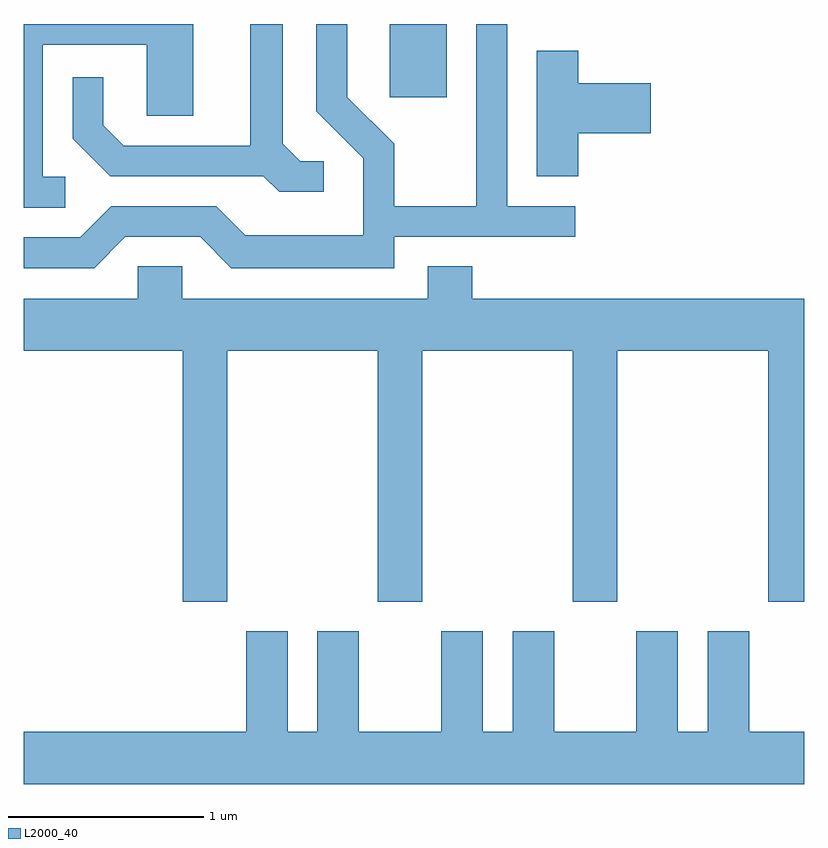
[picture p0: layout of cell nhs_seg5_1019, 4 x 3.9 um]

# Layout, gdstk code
import gdstk
lib = gdstk.Library(unit=1e-6, precision=1e-09)
def R(c, l, rs):  # rectangles x0, y0, x1, y1
    for r in rs: c.add(gdstk.rectangle(r[:2], r[2:], *l))
def P(c, l, *ps):  # polygons
    for p in ps: c.add(gdstk.Polygon(p, *l))
L2000_40 = (2000, 40)

nhs_seg5_1019 = lib.new_cell('nhs_seg5_1019')
R(nhs_seg5_1019, L2000_40, [(217.486,1413.696,217.779,1414.072)])
P(nhs_seg5_1019, L2000_40, [(217.148,1413.369),(217.027,1413.369),(216.939,1413.457),(216.939,1414.072),(216.771,1414.072),(216.771,1413.449),(216.122,1413.449),(216.019,1413.552),(216.019,1413.798),(215.861,1413.798),(215.861,1413.484),(216.054,1413.291),(216.839,1413.291),(216.919,1413.211),(217.148,1413.211)],
  [(215.823,1413.289),(215.709,1413.289),(215.709,1413.966),(216.241,1413.966),(216.241,1413.601),(216.479,1413.601),(216.479,1414.072),(215.611,1414.072),(215.611,1413.131),(215.823,1413.131)],
  [(216.132,1412.981),(216.514,1412.981),(216.674,1412.821),(217.509,1412.821),(217.509,1412.981),(218.438,1412.981),(218.438,1413.139),(218.089,1413.139),(218.089,1414.072),(217.931,1414.072),(217.931,1413.139),(217.509,1413.139),(217.509,1413.457),(217.269,1413.697),(217.269,1414.072),(217.111,1414.072),(217.111,1413.624),(217.351,1413.384),(217.351,1412.989),(216.747,1412.989),(216.597,1413.139),(216.059,1413.139),(215.899,1412.979),(215.611,1412.979),(215.611,1412.821),(215.972,1412.821)],
  [(218.454,1413.511),(218.824,1413.511),(218.824,1413.769),(218.454,1413.769),(218.454,1413.934),(218.241,1413.934),(218.241,1413.291),(218.454,1413.291)],
  [(216.654,1412.396),(217.426,1412.396),(217.426,1411.111),(217.654,1411.111),(217.654,1412.396),(218.426,1412.396),(218.426,1411.111),(218.654,1411.111),(218.654,1412.396),(219.426,1412.396),(219.426,1411.111),(219.611,1411.111),(219.611,1412.664),(217.909,1412.664),(217.909,1412.829),(217.681,1412.829),(217.681,1412.664),(216.424,1412.664),(216.424,1412.829),(216.196,1412.829),(216.196,1412.664),(215.611,1412.664),(215.611,1412.396),(216.426,1412.396),(216.426,1411.111),(216.654,1411.111)],
  [(219.611,1410.444),(219.329,1410.444),(219.329,1410.959),(219.116,1410.959),(219.116,1410.444),(218.964,1410.444),(218.964,1410.959),(218.751,1410.959),(218.751,1410.444),(218.329,1410.444),(218.329,1410.959),(218.116,1410.959),(218.116,1410.444),(217.964,1410.444),(217.964,1410.959),(217.751,1410.959),(217.751,1410.444),(217.329,1410.444),(217.329,1410.959),(217.116,1410.959),(217.116,1410.444),(216.964,1410.444),(216.964,1410.959),(216.751,1410.959),(216.751,1410.444),(215.611,1410.444),(215.611,1410.176),(219.611,1410.176)])

lib.write_gds('nhs_seg5_1019.gds')
